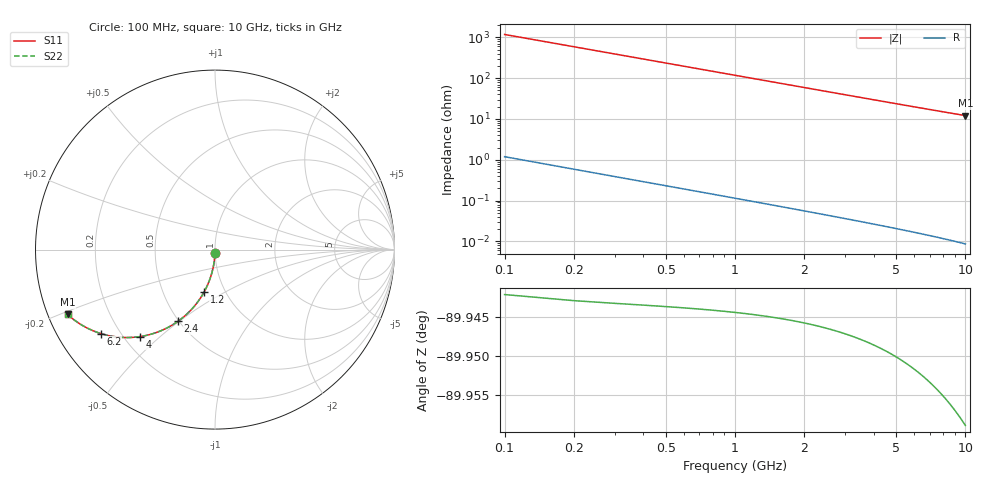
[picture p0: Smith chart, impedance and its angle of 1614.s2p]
# Hz S RI R 50.00
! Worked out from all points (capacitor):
!   100 points, 100 MHz to 10 GHz, reference 50 ohm
!   read as one part in shunt: C = 1.35 pF near 100 MHz
!   lowest |Z| = 12.1 ohm at 10 GHz (marker M1)
!   S11 on the Smith chart (normalised r, x): 100 MHz: 1.00, -0.04; 1.2 GHz: 0.80, -0.40; 2.4 GHz: 0.49, -0.49; 4 GHz: 0.26, -0.43; 6.2 GHz: 0.13, -0.32; 10 GHz: 0.06, -0.21
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1e8  -0.000328 -0.021  0.9994 -0.0214  0.9994 -0.0214  -0.000328 -0.021
2e8  -0.0017 -0.042  0.998 -0.0428  0.998 -0.0428  -0.0017 -0.042
3e8  -0.00395 -0.0628  0.9958 -0.064  0.9958 -0.064  -0.00395 -0.0628
4e8  -0.00709 -0.0834  0.9926 -0.0851  0.9926 -0.0851  -0.00709 -0.0834
5e8  -0.0111 -0.1039  0.9886 -0.1059  0.9886 -0.1059  -0.0111 -0.1039
6e8  -0.0159 -0.124  0.9838 -0.1265  0.9838 -0.1265  -0.0159 -0.124
7e8  -0.0216 -0.1439  0.9781 -0.1467  0.9781 -0.1467  -0.0216 -0.1439
9e8  -0.0352 -0.1824  0.9645 -0.186  0.9645 -0.186  -0.0352 -0.1824
1.2e9  -0.061 -0.2366  0.9387 -0.2415  0.9387 -0.2415  -0.061 -0.2366
1.5e9  -0.0921 -0.2859  0.9076 -0.292  0.9076 -0.292  -0.0921 -0.2859
1.8e9  -0.1275 -0.3296  0.8722 -0.3369  0.8722 -0.3369  -0.1275 -0.3296
2.1e9  -0.1659 -0.3674  0.8337 -0.3759  0.8337 -0.3759  -0.1659 -0.3674
2.4e9  -0.2063 -0.3994  0.7934 -0.4091  0.7934 -0.4091  -0.2063 -0.3994
2.9e9  -0.2752 -0.4403  0.7245 -0.4521  0.7245 -0.4521  -0.2752 -0.4403
3.4e9  -0.343 -0.4673  0.6566 -0.4812  0.6566 -0.4812  -0.343 -0.4673
4e9  -0.4197 -0.4849  0.5798 -0.5012  0.5798 -0.5012  -0.4197 -0.4849
5.1e9  -0.5409 -0.4873  0.4585 -0.5082  0.4585 -0.5082  -0.5409 -0.4873
6.2e9  -0.6359 -0.4678  0.3635 -0.4933  0.3635 -0.4933  -0.6359 -0.4678
6.7e9  -0.6713 -0.4553  0.328 -0.4829  0.328 -0.4829  -0.6713 -0.4553
7.5e9  -0.7195 -0.433  0.2797 -0.464  0.2797 -0.464  -0.7195 -0.433
8.4e9  -0.7635 -0.4067  0.2356 -0.4415  0.2356 -0.4415  -0.7635 -0.4067
1e10  -0.8216 -0.361  0.1772 -0.4026  0.1772 -0.4026  -0.8216 -0.361
